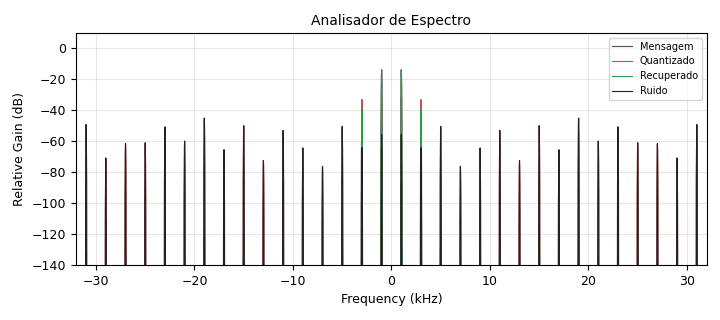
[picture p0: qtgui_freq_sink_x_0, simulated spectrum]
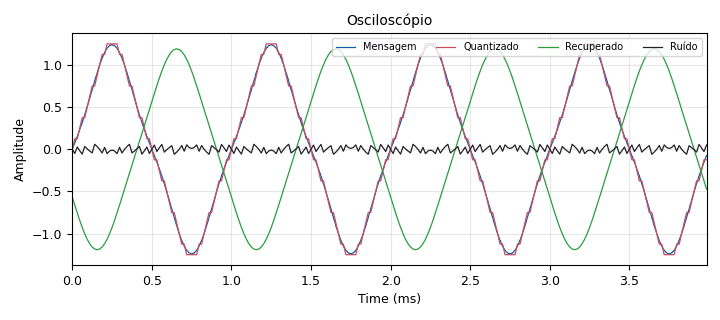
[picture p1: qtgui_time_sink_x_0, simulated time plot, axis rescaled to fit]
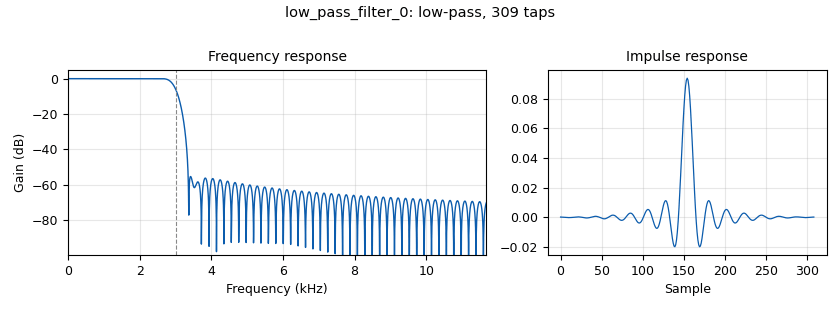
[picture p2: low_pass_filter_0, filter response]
options:
  parameters:
    author: pedro
    generate_options: qt_gui
    id: m180108140_Exp07_AR01
    output_language: python
    title: AR01
  states: {}

blocks:
- name: n_bits
  id: variable_qtgui_range
  parameters:
    gui_hint: (2,1,1,2)
    orient: Qt.Horizontal
    start: '1'
    step: '1'
    stop: '16'
    value: '4'
  states: {}
- name: samp_rate
  id: variable
  parameters:
    value: '64000'
  states: {}
- name: analog_sig_source_x_0
  id: analog_sig_source_x
  parameters:
    amp: '0.2'
    freq: '600'
    offset: '0'
    phase: '0'
    samp_rate: samp_rate
    type: float
    waveform: analog.GR_SIN_WAVE
  states: {state: disabled}
- name: analog_sig_source_x_0_0
  id: analog_sig_source_x
  parameters:
    amp: '0.2'
    freq: '1200'
    offset: '0'
    phase: '0'
    samp_rate: samp_rate
    type: float
    waveform: analog.GR_SIN_WAVE
  states: {state: disabled}
- name: analog_sig_source_x_0_0_0
  id: analog_sig_source_x
  parameters:
    amp: '0.2'
    freq: '1800'
    offset: '0'
    phase: '0'
    samp_rate: samp_rate
    type: float
    waveform: analog.GR_SIN_WAVE
  states: {state: disabled}
- name: analog_sig_source_x_0_0_0_0
  id: analog_sig_source_x
  parameters:
    amp: '0.2'
    freq: '2400'
    offset: '0'
    phase: '0'
    samp_rate: samp_rate
    type: float
    waveform: analog.GR_SIN_WAVE
  states: {state: disabled}
- name: analog_sig_source_x_0_0_0_0_0
  id: analog_sig_source_x
  parameters:
    amp: '0.2'
    freq: '3000'
    offset: '0'
    phase: '0'
    samp_rate: samp_rate
    type: float
    waveform: analog.GR_SIN_WAVE
  states: {state: disabled}
- name: analog_sig_source_x_0_1
  id: analog_sig_source_x
  parameters:
    amp: '1.12'
    freq: '1000'
    offset: '0'
    phase: '0'
    samp_rate: samp_rate
    type: float
    waveform: analog.GR_SIN_WAVE
  states: {}
- name: analog_sig_source_x_0_1_0
  id: analog_sig_source_x
  parameters:
    amp: '-0.12'
    freq: '3000'
    offset: '0'
    phase: '0'
    samp_rate: samp_rate
    type: float
    waveform: analog.GR_SIN_WAVE
  states: {}
- name: blocks_add_xx_0
  id: blocks_add_xx
  parameters:
    num_inputs: '5'
    type: float
  states: {state: disabled}
- name: blocks_add_xx_1
  id: blocks_add_xx
  parameters:
    type: float
  states: {}
- name: blocks_divide_xx_0
  id: blocks_divide_xx
  parameters:
    type: float
  states: {}
- name: blocks_multiply_xx_0
  id: blocks_multiply_xx
  parameters:
    type: float
  states: {}
- name: blocks_nlog10_ff_0
  id: blocks_nlog10_ff
  parameters:
    k: '0'
    n: '20'
  states: {}
- name: blocks_rms_xx_0
  id: blocks_rms_xx
  parameters:
    alpha: '0.0001'
    type: float
  states: {}
- name: blocks_rms_xx_0_0
  id: blocks_rms_xx
  parameters:
    alpha: '0.0001'
    type: float
  states: {}
- name: blocks_rms_xx_1
  id: blocks_rms_xx
  parameters:
    alpha: '0.0001'
    type: float
  states: {}
- name: blocks_sub_xx_0
  id: blocks_sub_xx
  parameters:
    type: float
  states: {}
- name: blocks_throttle_0
  id: blocks_throttle
  parameters:
    samples_per_second: samp_rate
    type: float
  states: {state: disabled}
- name: blocks_throttle_0_0
  id: blocks_throttle
  parameters:
    samples_per_second: samp_rate
    type: float
  states: {state: disabled}
- name: blocks_throttle_0_0_0
  id: blocks_throttle
  parameters:
    samples_per_second: samp_rate
    type: float
  states: {state: disabled}
- name: blocks_throttle_0_0_0_0
  id: blocks_throttle
  parameters:
    samples_per_second: samp_rate
    type: float
  states: {state: disabled}
- name: blocks_throttle_0_0_0_0_0
  id: blocks_throttle
  parameters:
    samples_per_second: samp_rate
    type: float
  states: {state: disabled}
- name: blocks_throttle_0_1
  id: blocks_throttle
  parameters:
    samples_per_second: samp_rate
    type: float
  states: {}
- name: blocks_throttle_0_1_0
  id: blocks_throttle
  parameters:
    samples_per_second: samp_rate
    type: float
  states: {}
- name: channels_quantizer_0
  id: channels_quantizer
  parameters:
    bits: n_bits
  states: {state: disabled}
- name: channels_quantizer_0_0
  id: channels_quantizer
  parameters:
    bits: n_bits
  states: {}
- name: low_pass_filter_0
  id: low_pass_filter
  parameters:
    cutoff_freq: '3000'
    gain: '1'
    interp: '1'
    samp_rate: samp_rate
    type: interp_fir_filter_fff
    width: '500'
    win: firdes.WIN_HAMMING
  states: {}
- name: qtgui_freq_sink_x_0
  id: qtgui_freq_sink_x
  parameters:
    bw: samp_rate
    ctrlpanel: 'True'
    fc: '0'
    fftsize: '4096'
    grid: 'True'
    gui_hint: (3,2,6,1)
    label1: Mensagem
    label2: Quantizado
    label3: Recuperado
    label4: Ruido
    name: Analisador de Espectro
    nconnections: '4'
    type: float
    wintype: firdes.WIN_BLACKMAN_hARRIS
  states: {}
- name: qtgui_number_sink_0
  id: qtgui_number_sink
  parameters:
    graph_type: qtgui.NUM_GRAPH_HORIZ
    gui_hint: (1,1,1,2)
    label1: RSR
    label2: Pot(msg)
    name: ''
    nconnections: '2'
    type: float
  states: {}
- name: qtgui_time_sink_x_0
  id: qtgui_time_sink_x
  parameters:
    ctrlpanel: 'True'
    grid: 'True'
    gui_hint: (3,1,6,1)
    label1: Mensagem
    label2: Quantizado
    label3: Recuperado
    label4: Ruído
    name: Osciloscópio
    nconnections: '4'
    size: '256'
    srate: samp_rate
    type: float
    yunit: V
  states: {}
- name: virtual_sink_0
  id: virtual_sink
  parameters:
    stream_id: mensagem
  states: {state: disabled}
- name: virtual_sink_0_0
  id: virtual_sink
  parameters:
    stream_id: quantizado
  states: {state: disabled}
- name: virtual_sink_0_0_0
  id: virtual_sink
  parameters:
    stream_id: quantizado
  states: {}
- name: virtual_sink_0_1
  id: virtual_sink
  parameters:
    stream_id: mensagem
  states: {}
- name: virtual_sink_1
  id: virtual_sink
  parameters:
    stream_id: ruido
  states: {}
- name: virtual_source_0
  id: virtual_source
  parameters:
    stream_id: mensagem
  states: {}
- name: virtual_source_0_0
  id: virtual_source
  parameters:
    stream_id: quantizado
  states: {}
- name: virtual_source_0_0_0
  id: virtual_source
  parameters:
    stream_id: quantizado
  states: {}
- name: virtual_source_0_0_0_0
  id: virtual_source
  parameters:
    stream_id: ruido
  states: {}
- name: virtual_source_0_1
  id: virtual_source
  parameters:
    stream_id: mensagem
  states: {}

connections:
- [analog_sig_source_x_0, '0', blocks_throttle_0, '0']
- [analog_sig_source_x_0_0, '0', blocks_throttle_0_0, '0']
- [analog_sig_source_x_0_0_0, '0', blocks_throttle_0_0_0, '0']
- [analog_sig_source_x_0_0_0_0, '0', blocks_throttle_0_0_0_0, '0']
- [analog_sig_source_x_0_0_0_0_0, '0', blocks_throttle_0_0_0_0_0, '0']
- [analog_sig_source_x_0_1, '0', blocks_throttle_0_1, '0']
- [analog_sig_source_x_0_1_0, '0', blocks_throttle_0_1_0, '0']
- [blocks_add_xx_0, '0', channels_quantizer_0, '0']
- [blocks_add_xx_0, '0', virtual_sink_0, '0']
- [blocks_add_xx_1, '0', channels_quantizer_0_0, '0']
- [blocks_add_xx_1, '0', virtual_sink_0_1, '0']
- [blocks_divide_xx_0, '0', blocks_nlog10_ff_0, '0']
- [blocks_multiply_xx_0, '0', qtgui_number_sink_0, '1']
- [blocks_nlog10_ff_0, '0', qtgui_number_sink_0, '0']
- [blocks_rms_xx_0, '0', blocks_divide_xx_0, '0']
- [blocks_rms_xx_0_0, '0', blocks_divide_xx_0, '1']
- [blocks_rms_xx_1, '0', blocks_multiply_xx_0, '0']
- [blocks_rms_xx_1, '0', blocks_multiply_xx_0, '1']
- [blocks_sub_xx_0, '0', blocks_rms_xx_0_0, '0']
- [blocks_sub_xx_0, '0', virtual_sink_1, '0']
- [blocks_throttle_0, '0', blocks_add_xx_0, '0']
- [blocks_throttle_0_0, '0', blocks_add_xx_0, '1']
- [blocks_throttle_0_0_0, '0', blocks_add_xx_0, '2']
- [blocks_throttle_0_0_0_0, '0', blocks_add_xx_0, '3']
- [blocks_throttle_0_0_0_0_0, '0', blocks_add_xx_0, '4']
- [blocks_throttle_0_1, '0', blocks_add_xx_1, '0']
- [blocks_throttle_0_1_0, '0', blocks_add_xx_1, '1']
- [channels_quantizer_0, '0', virtual_sink_0_0, '0']
- [channels_quantizer_0_0, '0', virtual_sink_0_0_0, '0']
- [low_pass_filter_0, '0', qtgui_freq_sink_x_0, '2']
- [low_pass_filter_0, '0', qtgui_time_sink_x_0, '2']
- [virtual_source_0, '0', blocks_rms_xx_0, '0']
- [virtual_source_0, '0', blocks_sub_xx_0, '0']
- [virtual_source_0_0, '0', blocks_sub_xx_0, '1']
- [virtual_source_0_0_0, '0', low_pass_filter_0, '0']
- [virtual_source_0_0_0, '0', qtgui_freq_sink_x_0, '1']
- [virtual_source_0_0_0, '0', qtgui_time_sink_x_0, '1']
- [virtual_source_0_0_0_0, '0', qtgui_freq_sink_x_0, '3']
- [virtual_source_0_0_0_0, '0', qtgui_time_sink_x_0, '3']
- [virtual_source_0_1, '0', blocks_rms_xx_1, '0']
- [virtual_source_0_1, '0', qtgui_freq_sink_x_0, '0']
- [virtual_source_0_1, '0', qtgui_time_sink_x_0, '0']

metadata:
  file_format: 1
